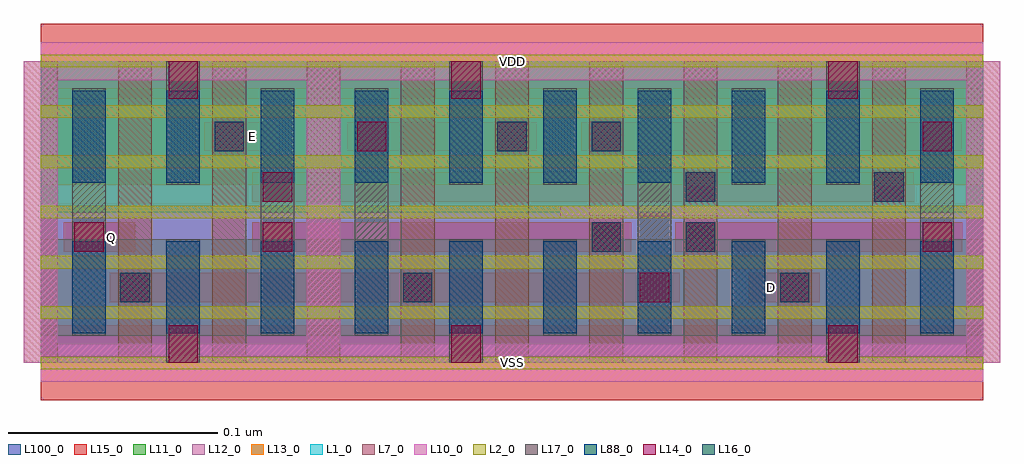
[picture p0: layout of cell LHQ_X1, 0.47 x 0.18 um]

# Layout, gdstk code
import gdstk
lib = gdstk.Library(unit=1e-6, precision=1e-09)
def R(c, l, rs):  # rectangles x0, y0, x1, y1
    for r in rs: c.add(gdstk.rectangle(r[:2], r[2:], *l))
def A(c, l, x, y, w, h, nx, ny, dx, dy):  # array of equal rectangles
    R(c, l, [(x+i*dx, y+j*dy, x+i*dx+w, y+j*dy+h) for i in range(nx) for j in range(ny)])
def P(c, l, *ps):  # polygons
    for p in ps: c.add(gdstk.Polygon(p, *l))
L1_0 = (1, 0)
L2_0 = (2, 0)
L7_0 = (7, 0)
L10_0 = (10, 0)
L11_0 = (11, 0)
L12_0 = (12, 0)
L13_0 = (13, 0)
L14_0 = (14, 0)
L15_0 = (15, 0)
L16_0 = (16, 0)
L17_0 = (17, 0)
L88_0 = (88, 0)
L100_0 = (100, 0)

lhq_x1 = lib.new_cell('LHQ_X1')
R(lhq_x1, L1_0, [(0,0.072,0.45,0.144)])
A(lhq_x1, L2_0, 0, -0.003, 0.45, 0.006, 1, 7, 0, 0.024)
A(lhq_x1, L7_0, -0.008, 0, 0.016, 0.144, 11, 1, 0.045, 0)
R(lhq_x1, L10_0, [(0.248,0.07,0.338,0.075)])
P(lhq_x1, L10_0, [(0,-0.009),(0,0),(-0.008,0),(-0.008,0.135),(0.008,0.135),(0.008,0.009),(0.127,0.009),(0.127,0.135),(0.143,0.135),(0.143,0.009),(0.442,0.009),(0.442,0.135),(-0.008,0.135),(-0.008,0.144),(0,0.144),(0,0.153),(0.45,0.153),(0.45,0.144),(0.458,0.144),(0.458,0),(0.45,0),(0.45,-0.009)])
R(lhq_x1, L11_0, [(0,0.013,0.45,0.059), (0,0.085,0.45,0.131)])
R(lhq_x1, L12_0, [(0,0,0.45,0.072)])
R(lhq_x1, L13_0, [(0,0.072,0.45,0.144)])
R(lhq_x1, L14_0, [(0.061,0,0.075,0.018), (0.196,0,0.21,0.018), (0.376,0,0.39,0.018), (0.038,0.029,0.052,0.043), (0.173,0.029,0.187,0.043), (0.286,0.029,0.3,0.043), (0.353,0.029,0.367,0.043), (0.016,0.053,0.03,0.067), (0.106,0.053,0.12,0.067), (0.263,0.053,0.277,0.067), (0.308,0.053,0.322,0.067), (0.421,0.053,0.435,0.067), (0.106,0.077,0.12,0.091), (0.308,0.077,0.322,0.091), (0.398,0.077,0.412,0.091), (0.083,0.101,0.097,0.115), (0.151,0.101,0.165,0.115), (0.218,0.101,0.232,0.115), (0.263,0.101,0.277,0.115), (0.421,0.101,0.435,0.115), (0.061,0.126,0.075,0.144), (0.196,0.126,0.21,0.144), (0.376,0.126,0.39,0.144)])
R(lhq_x1, L15_0, [(0,-0.018,0.45,0.018), (0.033,0.029,0.305,0.043), (0.338,0.029,0.372,0.043), (0.011,0.053,0.045,0.067), (0.101,0.053,0.282,0.067), (0.303,0.053,0.44,0.067), (0.101,0.077,0.417,0.091), (0.078,0.101,0.113,0.115), (0.146,0.101,0.237,0.115), (0.258,0.101,0.44,0.115), (0,0.126,0.45,0.162)])
R(lhq_x1, L16_0, [(0.038,0.029,0.052,0.043), (0.173,0.029,0.187,0.043), (0.353,0.029,0.367,0.043), (0.263,0.053,0.277,0.067), (0.308,0.053,0.322,0.067), (0.308,0.077,0.322,0.091), (0.398,0.077,0.412,0.091), (0.083,0.101,0.097,0.115), (0.218,0.101,0.232,0.115), (0.263,0.101,0.277,0.115)])
A(lhq_x1, L17_0, 0.15, 0.013, 0.016, 0.118, 3, 1, 0.135, 0)
R(lhq_x1, L17_0, [(0.06,0,0.076,0.059), (0.195,0,0.211,0.059), (0.375,0,0.391,0.059), (0.015,0.013,0.031,0.131), (0.105,0.013,0.121,0.131), (0.24,0.013,0.256,0.059), (0.33,0.013,0.346,0.059), (0.06,0.085,0.076,0.144), (0.195,0.085,0.211,0.144), (0.24,0.085,0.256,0.131), (0.33,0.085,0.346,0.131), (0.375,0.085,0.391,0.144)])
A(lhq_x1, L88_0, 0.015, 0.014, 0.016, 0.044, 10, 2, 0.045, 0.072)
R(lhq_x1, L100_0, [(0,0,0.45,0.144)])
lhq_x1.add(gdstk.Label('Q', (0.034,0.06), layer=15, texttype=251))
lhq_x1.add(gdstk.Label('VSS', (0.225,0), layer=15, texttype=251))
lhq_x1.add(gdstk.Label('VDD', (0.225,0.144), layer=15, texttype=251))
lhq_x1.add(gdstk.Label('D', (0.349,0.036), layer=15, texttype=251))
lhq_x1.add(gdstk.Label('VSS', (0.225,0), layer=15, texttype=251))
lhq_x1.add(gdstk.Label('VDD', (0.225,0.144), layer=15, texttype=251))
lhq_x1.add(gdstk.Label('E', (0.101,0.108), layer=15, texttype=251))
lhq_x1.add(gdstk.Label('VSS', (0.225,0), layer=15, texttype=251))
lhq_x1.add(gdstk.Label('VDD', (0.225,0.144), layer=15, texttype=251))
lhq_x1.add(gdstk.Label('VSS', (0.225,0), layer=3, texttype=251))
lhq_x1.add(gdstk.Label('VSS', (0.225,0), layer=3, texttype=251))
lhq_x1.add(gdstk.Label('VSS', (0.225,0), layer=3, texttype=251))
lhq_x1.add(gdstk.Label('VDD', (0.225,0.144), layer=1, texttype=251))
lhq_x1.add(gdstk.Label('VDD', (0.225,0.144), layer=1, texttype=251))
lhq_x1.add(gdstk.Label('VDD', (0.225,0.144), layer=1, texttype=251))

lib.write_gds('LHQ_X1.gds')
